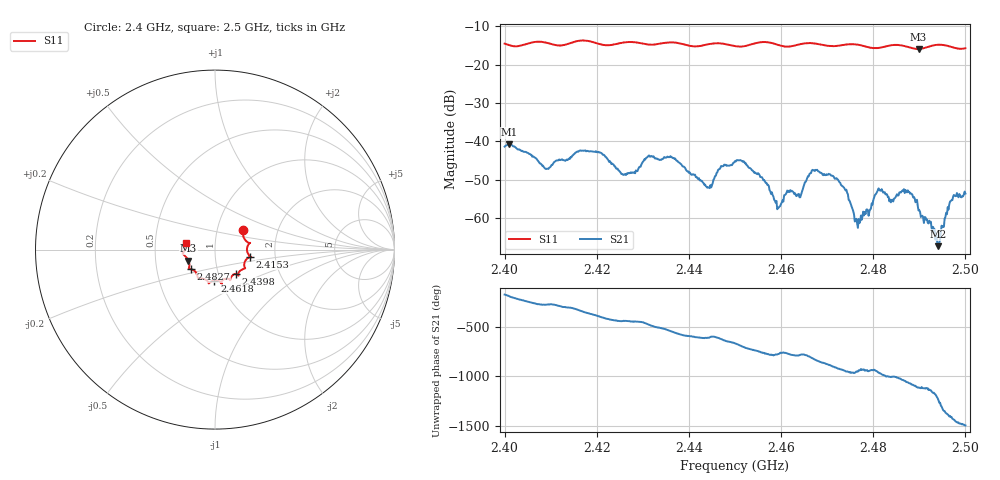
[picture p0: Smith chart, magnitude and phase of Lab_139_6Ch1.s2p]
# Hz S RI R 50
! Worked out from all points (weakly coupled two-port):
!   601 points, 2.4 GHz to 2.5 GHz, reference 50 ohm
!   highest |S21| = -40.78 dB at 2.401 GHz (marker M1); lowest = -67.3 dB at 2.494 GHz (marker M2)
!   lowest |S11| = -15.9 dB at 2.4898 GHz (marker M3), VSWR 1.38, Z = 36.8 - j4.63 ohm
!   |S11| at or under -10 dB: start of sweep to end of sweep
!   S12 and S22 are empty: the file has one direction only
!   S11 on the Smith chart (normalised r, x): 2.4 GHz: 1.33, +0.29; 2.4153 GHz: 1.48, -0.12; 2.4398 GHz: 1.21, -0.34; 2.4618 GHz: 0.94, -0.33; 2.4827 GHz: 0.75, -0.17; 2.5 GHz: 0.72, +0.06
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2.4e9  0.1553 0.1066  -0.00856 -0.0004  0 0  0 0
2.401e9  0.1552 0.0911  -0.00888 0.00218  0 0  0 0
2.409167e9  0.1902 0.0332  0.000619 0.00438  0 0  0 0
2.415333e9  0.1964 -0.0391  0.00556 0.00445  0 0  0 0
2.416667e9  0.2022 -0.0431  0.00722 0.00222  0 0  0 0
2.425833e9  0.1667 -0.1013  0.000611 -0.00361  0 0  0 0
2.433333e9  0.1296 -0.1341  -0.00504 -0.00294  0 0  0 0
2.439833e9  0.1153 -0.1356  -0.00247 0.00326  0 0  0 0
2.444333e9  0.0847 -0.1652  -0.0008 0.00238  0 0  0 0
2.45e9  0.065 -0.1624  0.00339 0.0044  0 0  0 0
2.459333e9  0.0278 -0.1789  0.000781 -0.00111  0 0  0 0
2.461833e9  -0.00337 -0.1727  0.00121 -0.00183  0 0  0 0
2.466667e9  -0.0348 -0.188  -0.00032 -0.00418  0 0  0 0
2.472333e9  -0.074 -0.1602  -0.00299 0.00113  0 0  0 0
2.4765e9  -0.0958 -0.1559  -0.000541 0.000668  0 0  0 0
2.482667e9  -0.1348 -0.1087  0.000239 0.00203  0 0  0 0
2.483333e9  -0.14 -0.1082  0.000373 0.00186  0 0  0 0
2.4875e9  -0.1426 -0.0929  0.00215 0.000856  0 0  0 0
2.489833e9  -0.1483 -0.0612  0.0011 -0.000619  0 0  0 0
2.494e9  -0.1807 -0.0225  -0.000335 -0.000274  0 0  0 0
2.497e9  -0.1702 -0.00724  0.00145 0.000919  0 0  0 0
2.5e9  -0.1593 0.039  0.00129 -0.00165  0 0  0 0
